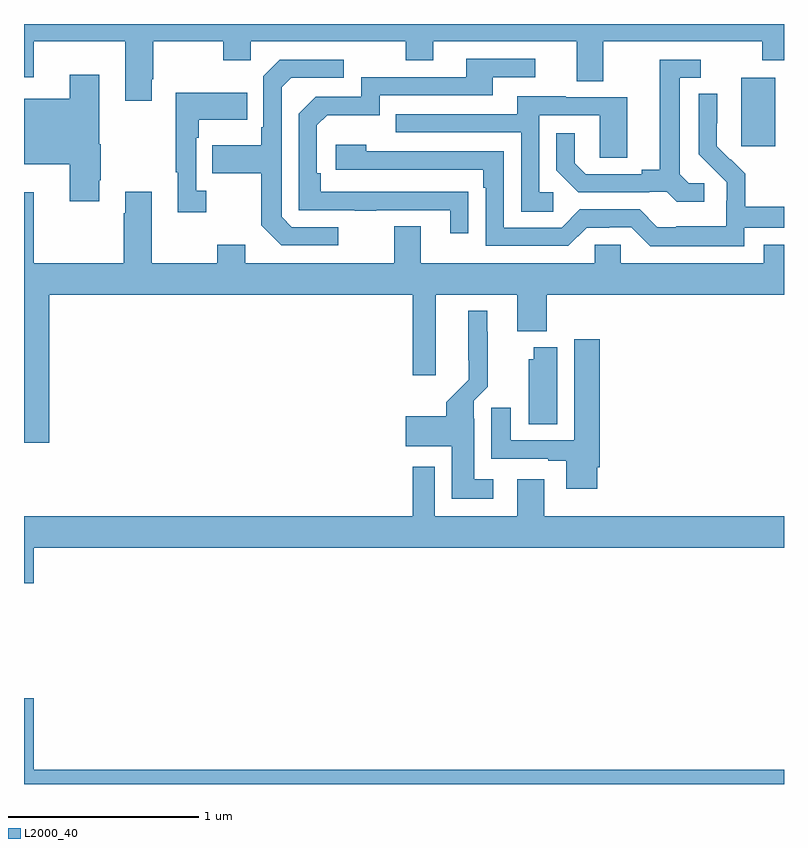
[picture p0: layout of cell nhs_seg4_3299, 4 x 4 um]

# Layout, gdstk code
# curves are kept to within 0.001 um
import gdstk
lib = gdstk.Library(unit=1e-6, precision=1e-09)
def R(c, l, rs):  # rectangles x0, y0, x1, y1
    for r in rs: c.add(gdstk.rectangle(r[:2], r[2:], *l))
def P(c, l, *ps):  # polygons
    for p in ps: c.add(gdstk.Polygon(p, *l))
L2000_40 = (2000, 40)

nhs_seg4_3299 = lib.new_cell('nhs_seg4_3299')
R(nhs_seg4_3299, L2000_40, [(288.776,808.257,288.955,808.618)])
P(nhs_seg4_3299, L2000_40, [(285.673,808.609),(285.681,808.609),(285.681,808.808),(286.048,808.808),(286.048,808.709),(286.194,808.709),(286.194,808.808),(287.008,808.808),(287.008,808.709),(287.155,808.709),(287.155,808.808),(287.909,808.808),(287.909,808.6),(288.049,808.6),(288.049,808.808),(288.886,808.808),(288.886,808.709),(289,808.709),(289,808.9),(285,808.9),(285,808.62),(285.052,808.62),(285.052,808.808),(285.533,808.808),(285.533,808.497),(285.673,808.497)],
  [(287.339,808.016),(286.562,808.017),(286.562,808.114),(286.542,808.114),(286.542,808.368),(286.595,808.421),(286.872,808.421),(286.872,808.524),(287.467,808.524),(287.467,808.62),(287.692,808.62),(287.692,808.716),(287.327,808.716),(287.327,808.62),(286.776,808.62),(286.776,808.518),(286.536,808.518),(286.446,808.428),(286.446,807.921),(286.741,807.921),(286.741,807.916),(286.853,807.916),(286.853,807.921),(287.243,807.921),(287.243,807.798),(287.339,807.798)],
  [(288.58,808.062),(288.498,808.062),(288.451,808.109),(288.451,808.617),(288.562,808.617),(288.562,808.713),(288.347,808.713),(288.347,808.133),(288.251,808.133),(288.251,808.11),(287.956,808.11),(287.899,808.167),(287.899,808.324),(287.802,808.324),(287.802,808.13),(287.918,808.014),(288.29,808.014),(288.29,808.017),(288.384,808.017),(288.436,807.965),(288.58,807.965)],
  [(286.654,807.831),(286.41,807.831),(286.356,807.885),(286.356,808.566),(286.407,808.617),(286.684,808.617),(286.684,808.713),(286.347,808.713),(286.26,808.626),(286.26,808.357),(286.248,808.357),(286.248,808.261),(285.991,808.261),(285.991,808.114),(286.248,808.114),(286.248,807.841),(286.353,807.735),(286.654,807.735)],
  [(285.397,808.078),(285.405,808.078),(285.405,808.267),(285.397,808.267),(285.397,808.633),(285.242,808.633),(285.242,808.507),(285.002,808.507),(285.002,808.163),(285.242,808.163),(285.242,807.966),(285.397,807.966)],
  [(285.958,808.022),(285.906,808.022),(285.906,808.301),(285.919,808.301),(285.919,808.397),(286.175,808.397),(286.175,808.537),(285.798,808.537),(285.798,808.121),(285.809,808.121),(285.809,807.909),(285.958,807.909)],
  [(288.792,807.828),(289,807.828),(289,807.937),(288.797,807.937),(288.797,808.111),(288.72,808.188),(288.717,808.185),(288.647,808.256),(288.648,808.532),(288.552,808.532),(288.552,808.214),(288.698,808.066),(288.698,807.969),(288.696,807.969),(288.696,807.835),(288.433,807.835),(288.433,807.831),(288.333,807.831),(288.24,807.924),(287.925,807.924),(287.829,807.828),(287.526,807.828),(287.526,808.23),(286.802,808.23),(286.802,808.264),(286.641,808.264),(286.641,808.134),(287.417,808.134),(287.417,808.037),(287.43,808.037),(287.43,807.732),(287.865,807.732),(287.961,807.828),(288.08,807.828),(288.08,807.831),(288.195,807.831),(288.295,807.731),(288.792,807.731)],
  [(287.785,808.014),(287.712,808.014),(287.712,808.419),(288.03,808.419),(288.03,808.195),(288.175,808.195),(288.175,808.515),(287.851,808.515),(287.851,808.519),(287.597,808.519),(287.597,808.425),(286.957,808.425),(286.957,808.329),(287.616,808.329),(287.616,807.913),(287.785,807.913)],
  [(285.052,808.015),(285,808.015),(285,806.697),(285.134,806.697),(285.134,807.476),(287.045,807.476),(287.045,807.051),(287.167,807.051),(287.167,807.476),(287.597,807.476),(287.597,807.284),(287.75,807.284),(287.75,807.476),(289,807.476),(289,807.739),(288.893,807.739),(288.893,807.64),(288.141,807.64),(288.141,807.738),(288.003,807.738),(288.003,807.64),(287.089,807.64),(287.089,807.835),(286.949,807.835),(286.949,807.64),(286.165,807.64),(286.165,807.739),(286.018,807.739),(286.018,807.64),(285.673,807.64),(285.673,808.018),(285.533,808.018),(285.533,807.905),(285.526,807.905),(285.526,807.64),(285.052,807.64)],
  [(287.47,806.503),(287.371,806.503),(287.371,806.822),(287.367,806.822),(287.367,806.916),(287.441,806.99),(287.441,807.281),(287.437,807.281),(287.437,807.391),(287.339,807.391),(287.34,807.028),(287.222,806.91),(287.222,806.836),(287.01,806.836),(287.01,806.678),(287.252,806.678),(287.252,806.402),(287.47,806.402)],
  [(288.016,806.566),(288.029,806.566),(288.029,807.241),(287.897,807.241),(287.897,806.709),(287.563,806.709),(287.563,806.881),(287.459,806.881),(287.459,806.613),(287.759,806.613),(287.759,806.601),(287.855,806.601),(287.855,806.454),(288.016,806.454)],
  [(287.806,807.199),(287.684,807.199),(287.684,807.135),(287.657,807.135),(287.657,806.794),(287.806,806.794)],
  [(285.052,806.144),(289,806.144),(289,806.308),(287.737,806.308),(287.737,806.503),(287.597,806.503),(287.597,806.308),(287.163,806.308),(287.163,806.569),(287.047,806.569),(287.047,806.308),(285,806.308),(285,805.956),(285.052,805.956)],
  [(285.052,805.351),(285,805.351),(285,804.9),(289,804.9),(289,804.976),(285.052,804.976)])

lib.write_gds('nhs_seg4_3299.gds')
